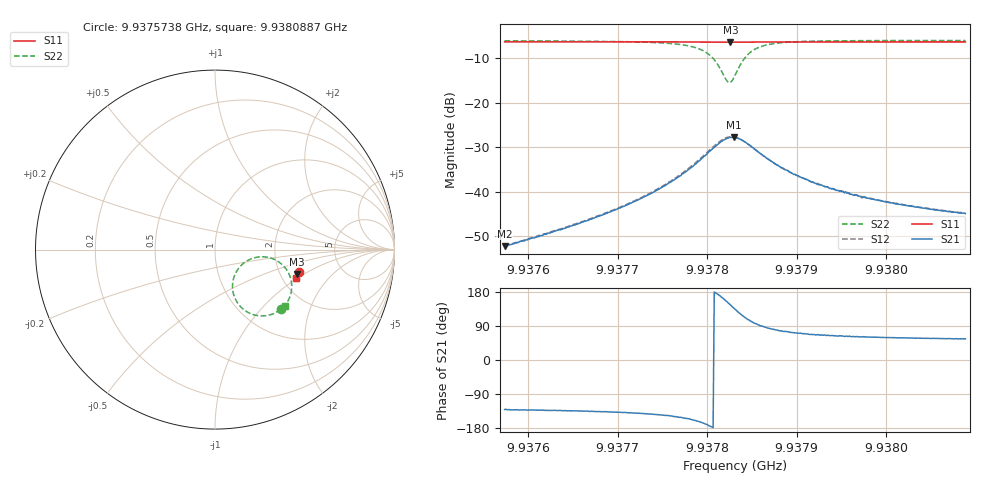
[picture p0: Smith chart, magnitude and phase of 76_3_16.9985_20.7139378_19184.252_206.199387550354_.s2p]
#  HZ  S  RI  R  50.00
! Rohde & Schwarz Vector Network Analyzer
! Rohde-Schwarz,ZNB20-2Port,1311601062101988,3.16
! Created: UTC 3/20/2024, 10:55:26 PM
! freq[Hz]  re:S11  im:S11  re:S21  im:S21  re:S12  im:S12  re:S22  im:S22
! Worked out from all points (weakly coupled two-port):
!   401 points, 9.9375738 GHz to 9.9380887 GHz, reference 50 ohm
!   highest |S21| = -27.79 dB at 9.93783 GHz (marker M1); lowest = -52.2 dB at 9.9375738 GHz (marker M2)
!   lowest |S11| = -6.4 dB at 9.9378261 GHz (marker M3), VSWR 2.82, Z = 123 - j43.9 ohm
!   |S11| at or under -10 dB: nowhere
!   |S22| runs from -15.5 to -6.0 dB; largest |S21 - S12| = 0.0022
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9.93757382e9  0.4659 -0.124  -0.0016 -0.00185  -0.00163 -0.00182  0.367 -0.3322
9.93766007e9  0.4638 -0.13  -0.00319 -0.00324  -0.00329 -0.00321  0.3484 -0.3454
9.9377077e9  0.4626 -0.1332  -0.00516 -0.00457  -0.00534 -0.00456  0.3283 -0.3559
9.93774632e9  0.4614 -0.1362  -0.0087 -0.0062  -0.00901 -0.00621  0.2953 -0.3663
9.93777721e9  0.4598 -0.1384  -0.0153 -0.00738  -0.0159 -0.00728  0.2379 -0.368
9.93779652e9  0.4583 -0.1397  -0.0243 -0.0056  -0.0251 -0.00515  0.168 -0.34
9.93780682e9  0.4571 -0.1399  -0.0306 -0.000838  -0.0318 0.000282  0.121 -0.2896
9.93781454e9  0.4562 -0.1397  -0.0351 0.00659  -0.0359 0.00848  0.0984 -0.2218
9.93782226e9  0.4558 -0.1389  -0.0356 0.0175  -0.0356 0.0196  0.1137 -0.1334
9.93782613e9  0.4557 -0.1384  -0.0335 0.023  -0.033 0.0251  0.1413 -0.0929
9.93782999e9  0.4561 -0.1381  -0.0297 0.028  -0.0287 0.03  0.1798 -0.062
9.93783128e9  0.4561 -0.1379  -0.0281 0.0292  -0.0271 0.0311  0.1946 -0.0544
9.93783771e9  0.4569 -0.1376  -0.0197 0.0331  -0.0182 0.0343  0.2684 -0.04
9.93784286e9  0.4575 -0.1379  -0.0131 0.0334  -0.0118 0.0341  0.3191 -0.05
9.9378493e9  0.4582 -0.1382  -0.00664 0.0315  -0.00536 0.0318  0.3653 -0.076
9.93785702e9  0.4586 -0.1391  -0.00154 0.028  -0.000598 0.0281  0.3985 -0.1115
9.93786861e9  0.459 -0.1403  0.00241 0.0231  0.00295 0.023  0.4206 -0.1576
9.93788405e9  0.459 -0.1419  0.0044 0.018  0.00468 0.0178  0.4275 -0.2002
9.93791752e9  0.4582 -0.1447  0.00498 0.0118  0.00519 0.0117  0.4213 -0.2497
9.93796129e9  0.4572 -0.1479  0.00447 0.00825  0.00452 0.0082  0.4101 -0.279
9.93800377e9  0.4563 -0.151  0.00385 0.00647  0.00402 0.00648  0.4016 -0.2943
9.93808872e9  0.454 -0.1567  0.00318 0.0047  0.0033 0.00471  0.3895 -0.3117
